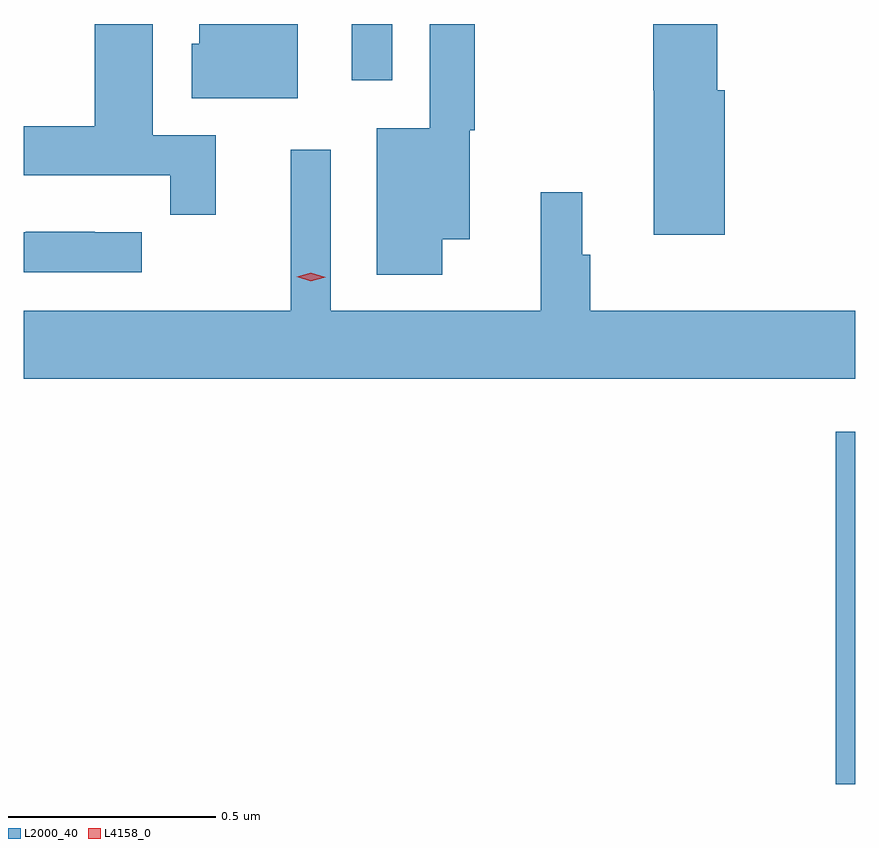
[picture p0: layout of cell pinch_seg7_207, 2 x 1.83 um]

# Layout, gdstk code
import gdstk
lib = gdstk.Library(unit=1e-6, precision=1e-09)
def R(c, l, rs):  # rectangles x0, y0, x1, y1
    for r in rs: c.add(gdstk.rectangle(r[:2], r[2:], *l))
def P(c, l, *ps):  # polygons
    for p in ps: c.add(gdstk.Polygon(p, *l))
L2000_40 = (2000, 40)
L4158_0 = (4158, 0)

pinch_seg7_207 = lib.new_cell('pinch_seg7_207')
R(pinch_seg7_207, L2000_40, [(1127.929,1020.954,1127.977,1021.801), (1126.766,1022.646,1126.863,1022.781)])
P(pinch_seg7_207, L2000_40, [(1126.636,1022.781),(1126.4,1022.781),(1126.4,1022.733),(1126.382,1022.733),(1126.382,1022.603),(1126.636,1022.603)],
  [(1127.663,1022.622),(1127.645,1022.622),(1127.645,1022.781),(1127.491,1022.781),(1127.491,1022.622),(1127.492,1022.622),(1127.492,1022.274),(1127.663,1022.274)],
  [(1126.984,1022.264),(1127.05,1022.264),(1127.05,1022.526),(1127.062,1022.526),(1127.062,1022.781),(1126.953,1022.781),(1126.953,1022.53),(1126.826,1022.53),(1126.826,1022.178),(1126.984,1022.178)],
  [(1126.439,1022.514),(1126.288,1022.514),(1126.288,1022.781),(1126.148,1022.781),(1126.148,1022.535),(1125.977,1022.535),(1125.977,1022.418),(1126.33,1022.418),(1126.33,1022.322),(1126.439,1022.322)],
  [(1127.977,1022.092),(1127.339,1022.092),(1127.339,1022.226),(1127.32,1022.226),(1127.32,1022.377),(1127.221,1022.377),(1127.221,1022.092),(1126.716,1022.092),(1126.716,1022.479),(1126.619,1022.479),(1126.619,1022.092),(1125.977,1022.092),(1125.977,1021.928),(1127.977,1021.928)],
  [(1126.261,1022.28),(1126.148,1022.28),(1126.148,1022.281),(1125.982,1022.281),(1125.982,1022.28),(1125.977,1022.28),(1125.977,1022.184),(1126.261,1022.184)])
P(pinch_seg7_207, L4158_0, [(1126.668,1022.163),(1126.634,1022.173),(1126.634,1022.173),(1126.634,1022.173),(1126.668,1022.183),(1126.703,1022.172),(1126.703,1022.172),(1126.703,1022.172)])

lib.write_gds('pinch_seg7_207.gds')
